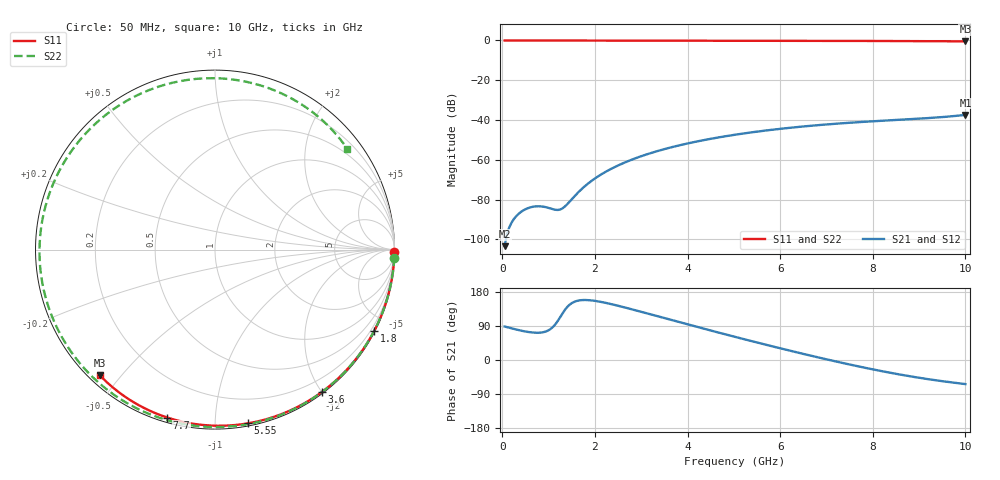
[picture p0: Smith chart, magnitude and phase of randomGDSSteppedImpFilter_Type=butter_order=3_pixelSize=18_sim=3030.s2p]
! freq	dB(S11)	phase(S11)	dB(S12)	phase(S12)
!  dB(S21)	phase(S21)	dB(S22)	phase(S22)
!S-par simulation data
#  GHz  S  DB  R 50
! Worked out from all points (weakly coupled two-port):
!   200 points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, 50 MHz to 10 GHz, reference 50 ohm
!   highest |S21| = -37.43 dB at 10 GHz (marker M1); lowest = -103.5 dB at 50 MHz (marker M2)
!   lowest |S11| = -0.4 dB at 10 GHz (marker M3), VSWR 38.89, Z = 1.53 - j22 ohm
!   |S11| at or under -10 dB: nowhere
!   |S22| runs from -0.7 to 0.0 dB; largest |S21 - S12| = 0
!   S11 on the Smith chart (normalised r, x): 50 MHz: open; 1.8 GHz: 0.04, -4.14; 3.6 GHz: 0.02, -2.00; 5.55 GHz: 0.02, -1.21; 7.7 GHz: 0.02, -0.75; 10 GHz: 0.03, -0.44
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0.05  -0.00 -0.8  -103.46 88.4  -103.46 88.4  -0.00 -2.5
0.45  -0.01 -6.9  -85.51 76.4  -85.51 76.4  -0.03 -22.7
0.85  -0.02 -12.9  -83.48 72.6  -83.48 72.6  -0.05 -42.1
1.2  -0.02 -18.2  -85.25 103.5  -85.25 103.5  -0.07 -58.3
1.5  -0.03 -22.7  -79.84 150.0  -79.84 150.0  -0.08 -71.4
1.75  -0.03 -26.4  -73.96 158.3  -73.96 158.3  -0.09 -81.8
1.8  -0.03 -27.2  -72.96 158.3  -72.96 158.3  -0.09 -83.8
2.1  -0.04 -31.6  -67.88 154.0  -67.88 154.0  -0.10 -95.4
2.45  -0.05 -36.7  -63.41 144.6  -63.41 144.6  -0.11 -108.2
2.95  -0.06 -43.9  -58.62 128.8  -58.62 128.8  -0.13 -124.9
3.4  -0.07 -50.3  -55.30 114.0  -55.30 114.0  -0.14 -138.7
3.6  -0.07 -53.1  -54.03 107.4  -54.03 107.4  -0.15 -144.6
4.3  -0.09 -62.7  -50.34 84.3  -50.34 84.3  -0.17 -163.9
5.05  -0.11 -72.8  -47.33 60.3  -47.33 60.3  -0.20 176.8
5.55  -0.13 -79.3  -45.70 44.7  -45.70 44.7  -0.22 164.3
6.1  -0.15 -86.3  -44.19 27.9  -44.19 27.9  -0.25 150.7
6.7  -0.18 -93.8  -42.83 10.3  -42.83 10.3  -0.28 135.8
7.7  -0.24 -105.9  -41.08 -17.1  -41.08 -17.1  -0.35 109.8
8.35  -0.29 -113.5  -40.18 -33.1  -40.18 -33.1  -0.40 91.7
9.2  -0.36 -123.4  -39.03 -50.6  -39.03 -50.6  -0.49 65.7
9.6  -0.40 -127.9  -38.35 -57.5  -38.35 -57.5  -0.56 52.1
10  -0.45 -132.5  -37.43 -63.6  -37.43 -63.6  -0.66 37.3
